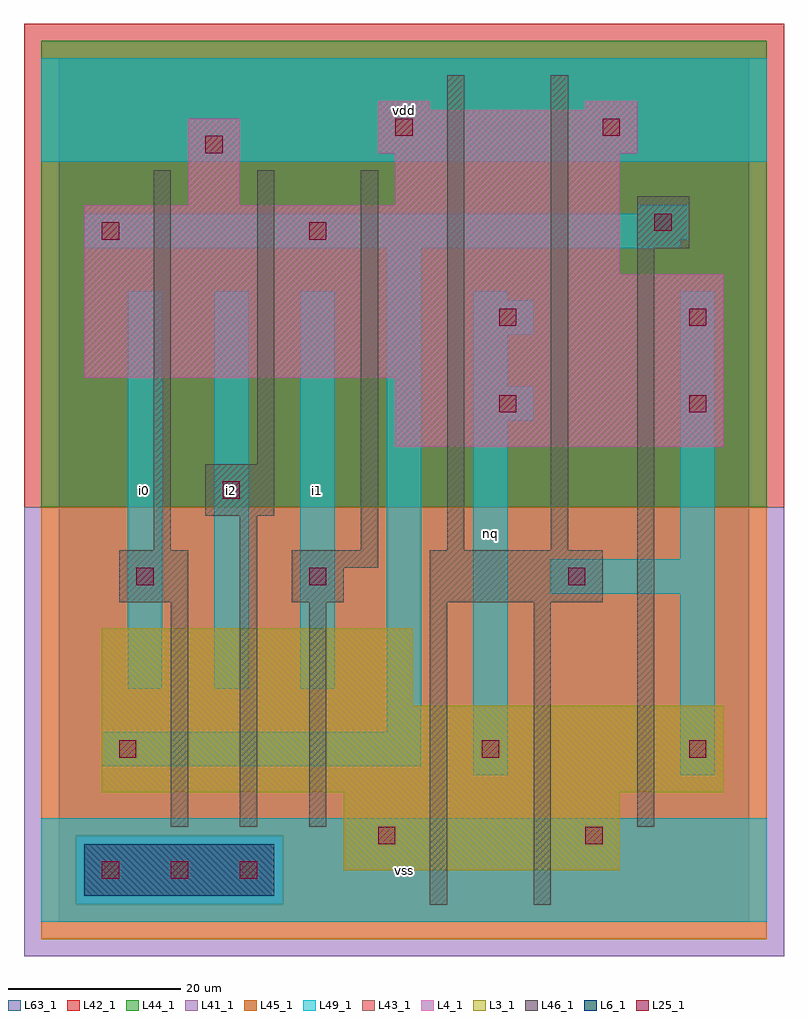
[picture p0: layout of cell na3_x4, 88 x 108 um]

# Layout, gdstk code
import gdstk
lib = gdstk.Library(unit=1e-6, precision=1e-09)
def R(c, l, rs):  # rectangles x0, y0, x1, y1
    for r in rs: c.add(gdstk.rectangle(r[:2], r[2:], *l))
def A(c, l, x, y, w, h, nx, ny, dx, dy):  # array of equal rectangles
    R(c, l, [(x+i*dx, y+j*dy, x+i*dx+w, y+j*dy+h) for i in range(nx) for j in range(ny)])
L3_1 = (3, 1)
L4_1 = (4, 1)
L6_1 = (6, 1)
L25_1 = (25, 1)
L41_1 = (41, 1)
L42_1 = (42, 1)
L43_1 = (43, 1)
L44_1 = (44, 1)
L45_1 = (45, 1)
L46_1 = (46, 1)
L49_1 = (49, 1)
L63_1 = (63, 1)

na3_x4 = lib.new_cell('na3_x4')
R(na3_x4, L3_1, [(33,6,65,15), (5,15,77,25), (5,25,41,34)])
R(na3_x4, L4_1, [(39,55,77,63), (3,63,77,75), (3,75,65,83), (15,83,21,93), (39,83,65,89), (37,89,67,94), (37,94,43,95), (61,94,67,95)])
R(na3_x4, L6_1, [(3,3,25,9), (3,3,25,9)])
A(na3_x4, L25_1, 5, 5, 2, 2, 3, 1, 8, 0)
R(na3_x4, L25_1, [(37,9,39,11), (61,9,63,11), (7,19,9,21), (49,19,51,21), (73,19,75,21), (9,39,11,41), (29,39,31,41), (59,39,61,41), (19,49,21,51), (51,59,53,61), (73,59,75,61), (51,69,53,71), (73,69,75,71), (5,79,7,81), (29,79,31,81), (69,80,71,82), (17,89,19,91), (39,91,41,93), (63,91,65,93)])
R(na3_x4, L41_1, [(-4,-4,84,48)])
R(na3_x4, L42_1, [(-4,48,84,104)])
R(na3_x4, L43_1, [(3,3,25,9), (33,6,65,15), (5,15,77,25), (5,25,41,34), (39,55,77,63), (3,63,77,75), (3,75,65,83), (15,83,21,93), (39,83,65,89), (37,89,67,94), (37,94,43,95), (61,94,67,95)])
R(na3_x4, L44_1, [(2,2,26,10), (-2,48,82,102)])
R(na3_x4, L45_1, [(-2,-2,82,2), (-2,2,2,10), (26,2,82,10), (-2,10,82,48)])
R(na3_x4, L46_1, [(43,2,45,37), (55,2,57,37), (13,11,15,37), (21,11,23,47), (29,11,31,37), (67,11,69,78), (7,37,15,43), (27,37,33,41), (43,37,63,43), (27,41,37,43), (11,43,13,87), (35,43,37,87), (45,43,47,98), (57,43,59,98), (17,47,25,53), (23,53,25,87), (67,78,73,84)])
A(na3_x4, L49_1, 8, 27, 4, 46, 3, 1, 10, 0)
R(na3_x4, L49_1, [(-2,0,82,12), (48,17,52,58), (72,17,76,38), (5,18,42,22), (38,22,42,78), (57,38,76,42), (72,42,76,73), (48,58,55,62), (48,62,52,68), (48,68,55,72), (48,72,52,73), (3,78,72,79), (3,79,73,82), (67,82,73,83), (-2,88,82,100)])
R(na3_x4, L63_1, [(0,0,80,100)])
na3_x4.add(gdstk.Label('i0', (10,50), layer=49, texttype=1))
na3_x4.add(gdstk.Label('i1', (30,50), layer=49, texttype=1))
na3_x4.add(gdstk.Label('i2', (20,50), layer=49, texttype=1))
na3_x4.add(gdstk.Label('vss', (40,6), layer=49, texttype=1))
na3_x4.add(gdstk.Label('nq', (50,45), layer=49, texttype=1))
na3_x4.add(gdstk.Label('vdd', (40,94), layer=49, texttype=1))

lib.write_gds('na3_x4.gds')
